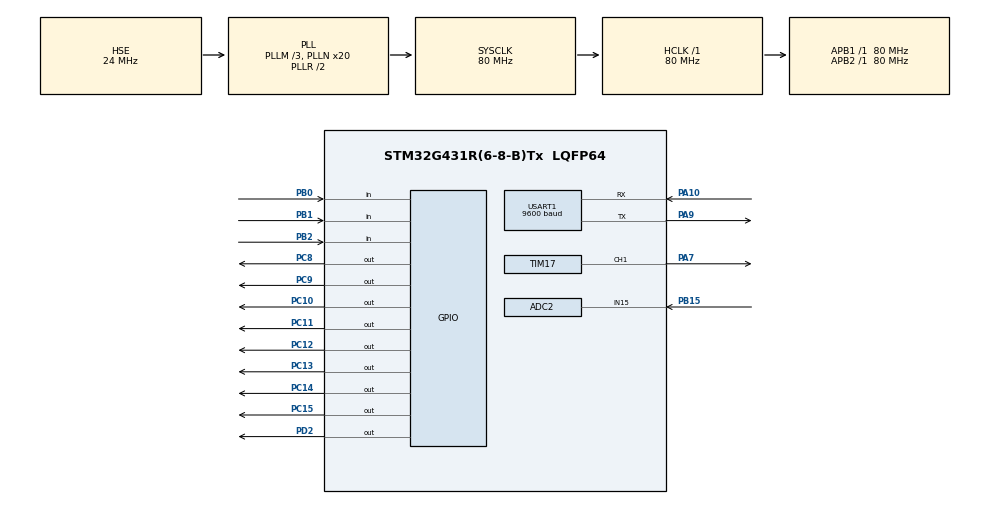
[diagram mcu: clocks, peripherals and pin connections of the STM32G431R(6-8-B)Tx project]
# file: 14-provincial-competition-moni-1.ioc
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ADC2.Channel-1\#ChannelRegularConversion=ADC_CHANNEL_15
ADC2.NbrOfConversionFlag=1
ADC2.OffsetNumber-1\#ChannelRegularConversion=ADC_OFFSET_NONE
ADC2.Rank-1\#ChannelRegularConversion=1
ADC2.SamplingTime-1\#ChannelRegularConversion=ADC_SAMPLETIME_2CYCLES_5
Mcu.Family=STM32G4
Mcu.Name=STM32G431R(6-8-B)Tx
Mcu.Package=LQFP64
NVIC.PriorityGroup=NVIC_PRIORITYGROUP_4
NVIC.TIM2_IRQn=true\:0\:0\:false\:false\:true\:true\:true\:true
NVIC.USART1_IRQn=true\:0\:0\:false\:false\:true\:true\:true\:true
PA10.Mode=Asynchronous
PA10.Signal=USART1_RX
PA13.Mode=Serial_Wire
PA13.Signal=SYS_JTMS-SWDIO
PA14.Mode=Serial_Wire
PA14.Signal=SYS_JTCK-SWCLK
PA7.Signal=S_TIM17_CH1
PA9.Mode=Asynchronous
PA9.Signal=USART1_TX
PB0.GPIO_Mode=GPIO_MODE_INPUT
PB0.GPIO_PuPd=GPIO_PULLUP
PB0.Signal=GPIO_Input
PB1.GPIO_Mode=GPIO_MODE_INPUT
PB1.GPIO_PuPd=GPIO_PULLUP
PB1.Signal=GPIO_Input
PB15.Mode=IN15-Single-Ended
PB15.Signal=ADC2_IN15
PB2.GPIO_Mode=GPIO_MODE_INPUT
PB2.GPIO_PuPd=GPIO_PULLUP
PB2.Signal=GPIO_Input
PC10.PinState=GPIO_PIN_SET
PC10.Signal=GPIO_Output
PC11.PinState=GPIO_PIN_SET
PC11.Signal=GPIO_Output
PC12.PinState=GPIO_PIN_SET
PC12.Signal=GPIO_Output
PC13.PinState=GPIO_PIN_SET
PC13.Signal=GPIO_Output
PC14-OSC32_IN.PinState=GPIO_PIN_SET
PC14-OSC32_IN.Signal=GPIO_Output
PC15-OSC32_OUT.PinState=GPIO_PIN_SET
PC15-OSC32_OUT.Signal=GPIO_Output
PC8.PinState=GPIO_PIN_SET
PC8.Signal=GPIO_Output
PC9.PinState=GPIO_PIN_SET
PC9.Signal=GPIO_Output
PD2.Signal=GPIO_Output
PF0-OSC_IN.Mode=HSE-External-Oscillator
PF0-OSC_IN.Signal=RCC_OSC_IN
PF1-OSC_OUT.Mode=HSE-External-Oscillator
PF1-OSC_OUT.Signal=RCC_OSC_OUT
ProjectManager.HeapSize=0x200
ProjectManager.StackSize=0x400
ProjectManager.TargetToolchain=MDK-ARM V5.32
RCC.ADC12Freq_Value=80000000
RCC.AHBFreq_Value=80000000
RCC.APB1Freq_Value=80000000
RCC.APB1TimFreq_Value=80000000
RCC.APB2Freq_Value=80000000
RCC.APB2TimFreq_Value=80000000
RCC.CortexFreq_Value=80000000
RCC.EXTERNAL_CLOCK_VALUE=12288000
RCC.HCLKFreq_Value=80000000
RCC.HSE_VALUE=24000000
RCC.HSI48_VALUE=48000000
RCC.HSI_VALUE=16000000
RCC.LSE_VALUE=32768
RCC.PLLM=RCC_PLLM_DIV3
RCC.PLLN=20
RCC.PLLSourceVirtual=RCC_PLLSOURCE_HSE
RCC.SYSCLKFreq_VALUE=80000000
RCC.SYSCLKSource=RCC_SYSCLKSOURCE_PLLCLK
RCC.USBFreq_Value=80000000
RCC.VCOOutputFreq_Value=160000000
SH.S_TIM17_CH1.0=TIM17_CH1,PWM Generation1 CH1
TIM17.Channel=TIM_CHANNEL_1
TIM17.PeriodNoDither=100-1
TIM17.Prescaler=800-1
TIM2.PeriodNoDither=10000-1
TIM2.Prescaler=800-1
TIM3.PeriodNoDither=65535
TIM3.Prescaler=8000-1
USART1.BaudRate=9600
USART1.VirtualMode-Asynchronous=VM_ASYNC
VP_SYS_VS_DBSignals.Mode=DisableDeadBatterySignals
VP_TIM17_VS_ClockSourceINT.Mode=Enable_Timer
VP_TIM2_VS_ClockSourceINT.Mode=Internal
VP_TIM3_VS_ClockSourceINT.Mode=Internal
board=custom

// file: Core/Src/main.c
/* USER CODE BEGIN Header */
/**
  ******************************************************************************
  * @file           : main.c
  * @brief          : Main program body
  ******************************************************************************
  * @attention
  *
  * Copyright (c) 2025 STMicroelectronics.
  * All rights reserved.
  *
  * This software is licensed under terms that can be found in the LICENSE file
  * in the root directory of this software component.
  * If no LICENSE file comes with this software, it is provided AS-IS.
  *
  ******************************************************************************
  */
/* USER CODE END Header */
#include "main.h"
#include "adc.h"
#include "tim.h"
#include "usart.h"
#include "gpio.h"

/* USER CODE BEGIN Includes */
#include "stdio.h"
#include "stdint.h"
#include "string.h"
#include "lcd.h"
/* USER CODE END Includes */

/* USER CODE BEGIN PV */
char text[20];
uint8_t page=0, led1_flag=1, led2_flag=0, led3_flag=0;
double V37, VP1=0.3;uint32_t f=1000;
uint8_t key_val,key_up,key_down,key_last_val;
char send_buf[255], rec_buf[255];uint8_t rec_data, count, rec_flag;
/* USER CODE END PV */

void SystemClock_Config(void);
/* USER CODE BEGIN PFP */
void LCD_Proc(void);
void LED_Proc(void);
void KEY_Proc(void);
void USART_Proc(void);
/* USER CODE END PFP */

int main(void)
{

  /* MCU Configuration--------------------------------------------------------*/

  /* Reset of all peripherals, Initializes the Flash interface and the Systick. */
  HAL_Init();

  /* Configure the system clock */
  SystemClock_Config();

  /* Initialize all configured peripherals */
  MX_GPIO_Init();
  MX_ADC2_Init();
  MX_TIM17_Init();
  MX_TIM2_Init();
  MX_USART1_UART_Init();
  MX_TIM3_Init();
  /* USER CODE BEGIN 2 */
    // LCD
    LCD_Init();
    LCD_Clear(Black);
    LCD_SetBackColor(Black);
    LCD_SetTextColor(White);
    // ADC
    HAL_ADCEx_Calibration_Start(&hadc2, ADC_SINGLE_ENDED);
    // TIM
    HAL_TIM_PWM_Start(&htim17, TIM_CHANNEL_1);
    TIM17->CCR1=10;
    TIM2->CNT=0;
    TIM3->CNT=0;
    HAL_TIM_Base_Start(&htim3);
    // USART
    HAL_UART_Receive_IT(&huart1, &rec_data, 1);
  /* USER CODE END 2 */

  /* Infinite loop */
  /* USER CODE BEGIN WHILE */
  while (1)
  {
      LCD_Proc();
      KEY_Proc();
      LED_Proc();
      if(V37-VP1>0){
          HAL_TIM_Base_Start_IT(&htim2);
      }else{
          HAL_TIM_Base_Stop_IT(&htim2);
          TIM2->CNT=0;
          led3_flag=0;
      }
      USART_Proc();
    /* USER CODE END WHILE */

  }
}

void SystemClock_Config(void)
{
  RCC_OscInitTypeDef RCC_OscInitStruct = {0};
  RCC_ClkInitTypeDef RCC_ClkInitStruct = {0};

  /** Configure the main internal regulator output voltage
  */
  HAL_PWREx_ControlVoltageScaling(PWR_REGULATOR_VOLTAGE_SCALE1);

  /** Initializes the RCC Oscillators according to the specified parameters
  * in the RCC_OscInitTypeDef structure.
  */
  RCC_OscInitStruct.OscillatorType = RCC_OSCILLATORTYPE_HSE;
  RCC_OscInitStruct.HSEState = RCC_HSE_ON;
  RCC_OscInitStruct.PLL.PLLState = RCC_PLL_ON;
  RCC_OscInitStruct.PLL.PLLSource = RCC_PLLSOURCE_HSE;
  RCC_OscInitStruct.PLL.PLLM = RCC_PLLM_DIV3;
  RCC_OscInitStruct.PLL.PLLN = 20;
  RCC_OscInitStruct.PLL.PLLP = RCC_PLLP_DIV2;
  RCC_OscInitStruct.PLL.PLLQ = RCC_PLLQ_DIV2;
  RCC_OscInitStruct.PLL.PLLR = RCC_PLLR_DIV2;
  if (HAL_RCC_OscConfig(&RCC_OscInitStruct) != HAL_OK)
  {
    Error_Handler();
  }

  /** Initializes the CPU, AHB and APB buses clocks
  */
  RCC_ClkInitStruct.ClockType = RCC_CLOCKTYPE_HCLK|RCC_CLOCKTYPE_SYSCLK
                              |RCC_CLOCKTYPE_PCLK1|RCC_CLOCKTYPE_PCLK2;
  RCC_ClkInitStruct.SYSCLKSource = RCC_SYSCLKSOURCE_PLLCLK;
  RCC_ClkInitStruct.AHBCLKDivider = RCC_SYSCLK_DIV1;
  RCC_ClkInitStruct.APB1CLKDivider = RCC_HCLK_DIV1;
  RCC_ClkInitStruct.APB2CLKDivider = RCC_HCLK_DIV1;

  if (HAL_RCC_ClockConfig(&RCC_ClkInitStruct, FLASH_LATENCY_2) != HAL_OK)
  {
    Error_Handler();
  }
}

/* USER CODE BEGIN 4 */
double Get_Vol(){
    HAL_ADC_Start(&hadc2);
    uint32_t temp=HAL_ADC_GetValue(&hadc2);
    return (temp*3.3)/4096;
}
void LCD_Proc(void){
    V37=Get_Vol();
    if(page==0){
        led1_flag=1;
        led2_flag=0;
        sprintf(text, "        DATA        ");
        LCD_DisplayStringLine(Line3, (uint8_t*)text);
        sprintf(text, "     VR37:%.2fV     ", V37);
        LCD_DisplayStringLine(Line4, (uint8_t*)text);
        sprintf(text, "     PA7:%dHz    ", f);
        LCD_DisplayStringLine(Line5, (uint8_t*)text);
    }else{
        led1_flag=0;
        led2_flag=1;
        sprintf(text, "        PARA        ");
        LCD_DisplayStringLine(Line3, (uint8_t*)text);
        sprintf(text, "      VP1:%.1fV      ", VP1);
        LCD_DisplayStringLine(Line4, (uint8_t*)text);
    }
}
uint8_t KEY_Scan(void){
    uint8_t key_value=0;
    if(HAL_GPIO_ReadPin(GPIOB, GPIO_PIN_0)==GPIO_PIN_RESET){
        key_value=1;
    }
    if(HAL_GPIO_ReadPin(GPIOB, GPIO_PIN_1)==GPIO_PIN_RESET){
        key_value=2;
    }
    if(HAL_GPIO_ReadPin(GPIOB, GPIO_PIN_2)==GPIO_PIN_RESET){
        key_value=3;
    }
    return key_value;
}
void KEY_Proc(void){
    key_val=KEY_Scan();
    key_down=key_val&(key_val^key_last_val);
    key_up=~key_val&(key_val^key_last_val);
    key_last_val=key_val;
    if(key_down==1){
        page++;
        page%=2;
        LCD_Clear(Black);
    }
    if(key_down==2 && page==1){
        VP1+=0.3;
        if(VP1>3.3) VP1=0.0;
    }
    if(key_down==3 && page==0){
        f+=1000;
        if(f>10000) f=1000;
        __HAL_TIM_SET_PRESCALER(&htim17, 800000/f-1);
    }
}
void LED_Show(uint8_t led, uint8_t mode){
    if(mode){
        HAL_GPIO_WritePin(GPIOC, led<<8, GPIO_PIN_RESET);
        HAL_GPIO_WritePin(GPIOD, GPIO_PIN_2, GPIO_PIN_SET);
        HAL_GPIO_WritePin(GPIOD, GPIO_PIN_2, GPIO_PIN_RESET);
    }else{
        HAL_GPIO_WritePin(GPIOC, led<<8, GPIO_PIN_SET);
        HAL_GPIO_WritePin(GPIOD, GPIO_PIN_2, GPIO_PIN_SET);
        HAL_GPIO_WritePin(GPIOD, GPIO_PIN_2, GPIO_PIN_RESET);
    }
}
void LED_Proc(void){
    LED_Show(0x01, led1_flag);
    LED_Show(0x02, led2_flag);
    LED_Show(0x04, led3_flag);
}
void USART_Proc(void){
    if(rec_flag){
        if(TIM3->CNT>15){
            if(strcmp(rec_buf, "1")==0){
                TIM17->CCR1=10;
            }else if(strcmp(rec_buf, "2")==0){
                TIM17->CCR1=20;
            }else if(strcmp(rec_buf, "3")==0){
                TIM17->CCR1=30;
            }else if(strcmp(rec_buf, "4")==0){
                TIM17->CCR1=40;
            }else if(strcmp(rec_buf, "5")==0){
                TIM17->CCR1=50;
            }else if(strcmp(rec_buf, "6")==0){
                TIM17->CCR1=60;
            }else if(strcmp(rec_buf, "7")==0){
                TIM17->CCR1=70;
            }else if(strcmp(rec_buf, "8")==0){
                TIM17->CCR1=80;
            }else if(strcmp(rec_buf, "9")==0){
                TIM17->CCR1=90;
            }else{
                sprintf(send_buf, "Error");
                HAL_UART_Transmit(&huart1, (uint8_t*)send_buf, strlen(send_buf), 50);
            }
            count=0;
            memset(rec_buf, 0, sizeof(rec_buf));
            rec_flag=0;
        }
    }
}
void HAL_UART_RxCpltCallback(UART_HandleTypeDef *huart){
    if(huart->Instance==USART1){
        rec_buf[count]=rec_data;
        count++;
        TIM3->CNT=0;
        rec_flag=1;
        HAL_UART_Receive_IT(huart, &rec_data, 1);
    }
}
void HAL_TIM_PeriodElapsedCallback(TIM_HandleTypeDef *htim){
    if(htim->Instance==TIM2){
        led3_flag^=1;
    }
}
/* USER CODE END 4 */

void Error_Handler(void)
{
  __disable_irq();
  while (1)
  {
  }
}
